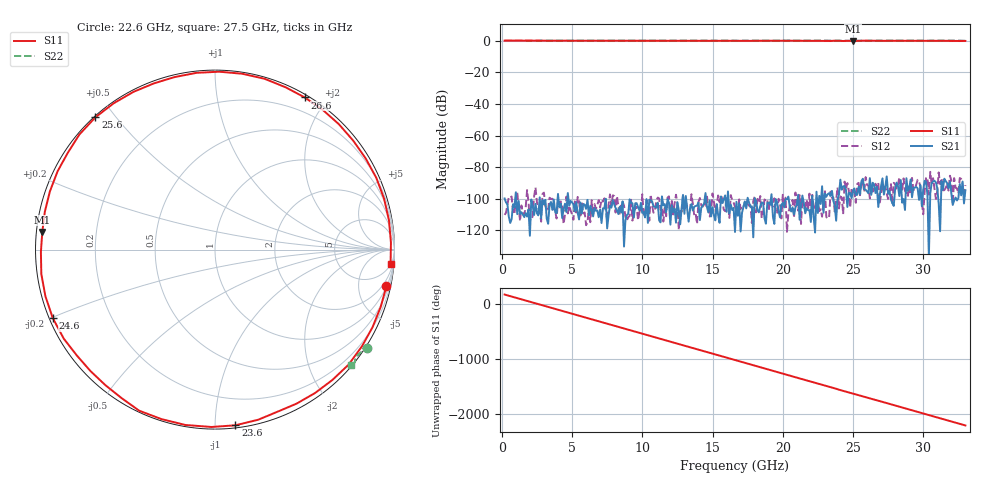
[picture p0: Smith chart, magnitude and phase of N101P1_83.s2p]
# GHZ S RI R 50
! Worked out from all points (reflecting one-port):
!   329 points, 200 MHz to 33 GHz, reference 50 ohm
!   lowest |S11| = -0.3 dB at 25 GHz (marker M1), VSWR 59.99, Z = 0.836 + j2.54 ohm
!   phase of S11 starts at 165 deg and turns -2367 deg over the sweep
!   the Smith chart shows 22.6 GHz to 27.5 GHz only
!   S11 on the Smith chart (normalised r, x): 22.6 GHz: 1.05, -9.29; 23.6 GHz: 0.02, -1.12; 24.6 GHz: 0.01, -0.20; 25.6 GHz: 0.00, +0.44; 26.6 GHz: 0.03, +1.75; 27.5 GHz: 5, -23
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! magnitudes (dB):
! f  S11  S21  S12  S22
! 200 MHz  0.0  -99.7  -110.2  0.0
! 5.7 GHz  -0.1  -109.2  -101.6  0.0
! 11.2 GHz  0.0  -113.6  -99.7  0.0
! 16.6 GHz  -0.2  -120.9  -105.0  -0.1
! 22.1 GHz  -0.2  -98.2  -97.5  0.0
! 22.6 GHz  -0.2  -98.1  -107.7  0.1
! 23 GHz  -0.2  -96.6  -94.6  0.0
! 23.4 GHz  -0.3  -98.1  -95.4  -0.1
! 23.6 GHz  -0.1  -101.1  -99.1  0.0
! 24 GHz  -0.1  -97.5  -106.1  0.0
! 24.3 GHz  -0.3  -92.1  -109.7  -0.1
! 24.6 GHz  -0.2  -105.1  -90.1  -0.1
! 25 GHz  -0.3  -94.5  -95.4  -0.1
! 25.6 GHz  -0.1  -88.9  -89.8  -0.1
! 26.6 GHz  -0.1  -96.4  -90.5  0.0
! 27.5 GHz  -0.2  -96.9  -100.1  -0.1
! 27.6 GHz  -0.1  -95.1  -94.9  -0.1
! 28.7 GHz  -0.1  -107.1  -95.0  0.0
! 30.3 GHz  -0.1  -97.5  -87.1  -0.1
! 31.3 GHz  -0.1  -89.0  -86.9  0.0
! 32 GHz  -0.3  -96.5  -88.3  0.1
! 33 GHz  -0.2  -94.6  -91.4  -0.2
